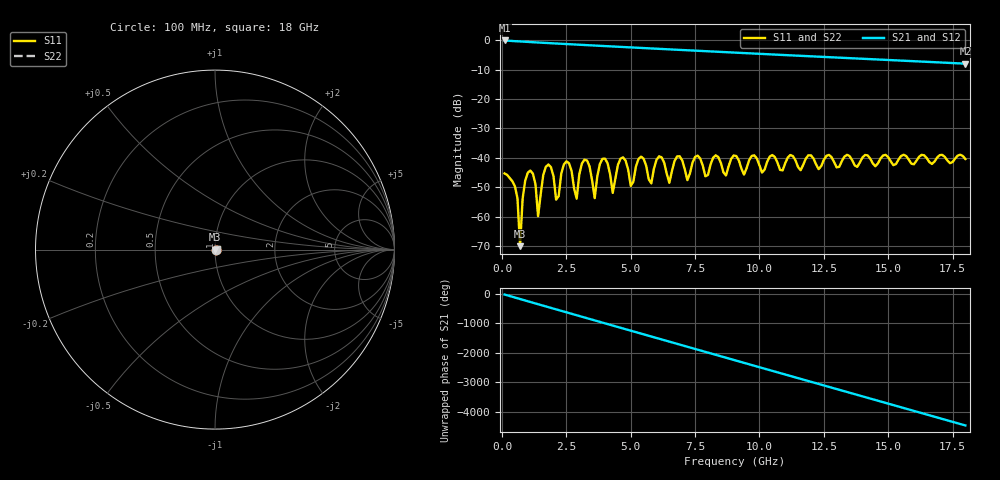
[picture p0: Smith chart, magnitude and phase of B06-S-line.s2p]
! yapnr rf coupon B: B06 S L100 (line, family S)
! stackup JLC06161H-2116C, nominal parameters; reference planes 10 mm from each end; 50 ohm (renormalized from the line's Zc)
! model: 2D quasi-static RLGC (Djordjevic-Sarkar, Huray roughness, Wheeler loss); generated by python -m yapnr.rf.coupons expected
# GHz S DB R 50
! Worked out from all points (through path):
!   180 points, 100 MHz to 18 GHz, reference 50 ohm
!   highest |S21| = -0.11 dB at 100 MHz (marker M1); lowest = -8.0 dB at 18 GHz (marker M2)
!   group delay of S21, straight-line fit = 688 ps
!   lowest |S11| = -70.1 dB at 700 MHz (marker M3), VSWR 1.00, Z = 50 - j0.013 ohm
!   |S11| at or under -10 dB: start of sweep to end of sweep
!   |S22| runs from -70.1 to -39.0 dB; largest |S21 - S12| = 0
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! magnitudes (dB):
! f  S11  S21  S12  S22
! 100 MHz  -45.4  -0.1  -0.1  -45.4
! 500 MHz  -49.7  -0.4  -0.4  -49.7
! 700 MHz  -70.1  -0.5  -0.5  -70.1
! 1 GHz  -45.1  -0.6  -0.6  -45.1
! 1.4 GHz  -59.9  -0.8  -0.8  -59.9
! 1.7 GHz  -43.1  -1.0  -1.0  -43.1
! 2.1 GHz  -54.2  -1.2  -1.2  -54.2
! 2.6 GHz  -41.8  -1.4  -1.4  -41.8
! 2.9 GHz  -53.9  -1.5  -1.5  -53.9
! 3.1 GHz  -42.0  -1.6  -1.6  -42.0
! 3.6 GHz  -53.7  -1.8  -1.8  -53.7
! 3.9 GHz  -40.4  -2.0  -2.0  -40.4
! 4.3 GHz  -52.0  -2.2  -2.2  -52.0
! 4.6 GHz  -40.3  -2.3  -2.3  -40.3
! 5 GHz  -49.6  -2.5  -2.5  -49.6
! 6.1 GHz  -39.5  -3.0  -3.0  -39.5
! 6.5 GHz  -48.5  -3.1  -3.1  -48.5
! 6.8 GHz  -39.6  -3.3  -3.3  -39.6
! 9.1 GHz  -39.4  -4.3  -4.3  -39.4
! 12.1 GHz  -40.3  -5.6  -5.6  -40.3
! 15.1 GHz  -41.2  -6.8  -6.8  -41.2
! 18 GHz  -40.4  -8.0  -8.0  -40.4
